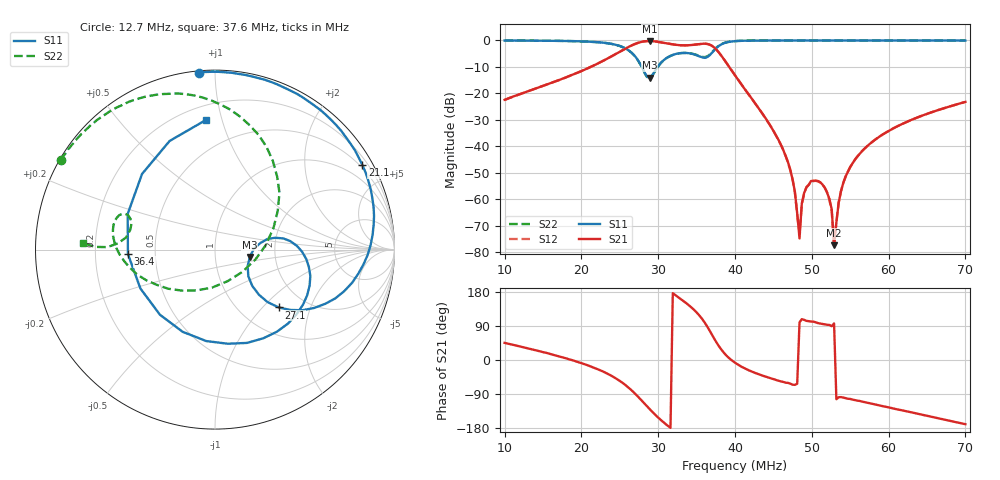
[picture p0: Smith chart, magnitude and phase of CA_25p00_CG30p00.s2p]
#  HZ  S  RI  R  50.00
! Rohde & Schwarz ZVT8 8Ports - Version 4.11 - 1300.0000k08 SN: 100242
! Date: 2026-07-31 14:32:32
! Measurements: S11 S21 S12 S22
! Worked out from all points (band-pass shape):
!   201 points, 10 MHz to 70 MHz, reference 50 ohm
!   highest |S21| = -0.22 dB at 28.9 MHz (marker M1); lowest = -77.5 dB at 52.9 MHz (marker M2)
!   |S21| within 3 dB of the highest: 25.65 MHz to 37.49 MHz (11.84 MHz wide, 37.5 % of centre)
!   lowest |S11| = -14.0 dB at 28.9 MHz (marker M3), VSWR 1.50, Z = 73.8 - j6.27 ohm
!   |S11| at or under -10 dB: 27.87 MHz to 29.93 MHz (2.065 MHz wide, 7.15 % of centre)
!   |S22| runs from -14.4 to 0.0 dB; largest |S21 - S12| = 0.004
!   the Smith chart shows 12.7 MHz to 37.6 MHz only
!   S11 on the Smith chart (normalised r, x): 12.7 MHz: 0.01, +0.91; 21.1 MHz: 0.41, +3.72; 27.1 MHz: 1.48, -1.24; 36.4 MHz: 0.35, -0.02; 37.6 MHz: 0.29, +0.89
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1e7  -0.4035 0.911  0.0531 0.0536  0.0531 0.0534  -0.917 0.3893
1.27e7  -0.0903 0.9864  0.0891 0.0563  0.0886 0.0561  -0.859 0.4992
2.02e7  0.7552 0.59  0.2679 -0.0454  0.2671 -0.0451  -0.5268 0.8009
2.11e7  0.8218 0.4706  0.2987 -0.0866  0.2986 -0.0865  -0.4507 0.8335
2.71e7  0.3548 -0.3221  -0.017 -0.8703  -0.0176 -0.87  0.3593 0.3162
2.89e7  0.1943 -0.0408  -0.6248 -0.748  -0.6241 -0.7461  0.0709 -0.1757
3.01e7  0.3349 0.0659  -0.8395 -0.4113  -0.8377 -0.4112  -0.2601 -0.2181
3.34e7  0.4537 -0.3612  -0.7265 0.3556  -0.725 0.3549  -0.5658 0.1363
3.64e7  -0.4852 -0.0248  0.0331 0.8567  0.0339 0.8573  -0.4954 0.0678
3.76e7  -0.0488 0.7232  0.4616 0.479  0.461 0.4793  -0.7376 0.0384
4e7  0.9525 0.1755  0.2172 -0.0274  0.2172 -0.0273  -0.8756 0.4247
4.63e7  0.4375 -0.8963  0.00447 -0.00712  0.00443 -0.00715  -0.5916 0.8033
4.78e7  0.2404 -0.9682  0.000569 -0.00126  0.00053 -0.00122  -0.526 0.8465
4.84e7  0.1611 -0.9849  -2.91e-05 0.000178  -9.96e-05 0.000202  -0.502 0.8617
4.9e7  0.0813 -0.9954  -0.00036 0.00126  -0.000267 0.00124  -0.4776 0.8753
5.02e7  -0.0728 -0.9954  -0.00043 0.00219  -0.00041 0.00216  -0.4282 0.9011
5.2e7  -0.2947 -0.9548  -6.9e-05 0.00132  -9.24e-05 0.00134  -0.3541 0.9308
5.29e7  -0.3986 -0.9147  -1.53e-05 0.000133  -3.95e-05 0.000123  -0.3187 0.9443
5.35e7  -0.4628 -0.8835  -0.000124 -0.000851  -0.000103 -0.00086  -0.2955 0.953
5.47e7  -0.5844 -0.8083  -0.000706 -0.00324  -0.000671 -0.00326  -0.2454 0.9655
6.01e7  -0.9477 -0.3057  -0.0115 -0.0162  -0.0115 -0.0162  -0.0287 0.9964
7e7  -0.6723 0.7323  -0.0678 -0.0126  -0.0676 -0.0124  0.3627 0.9264
